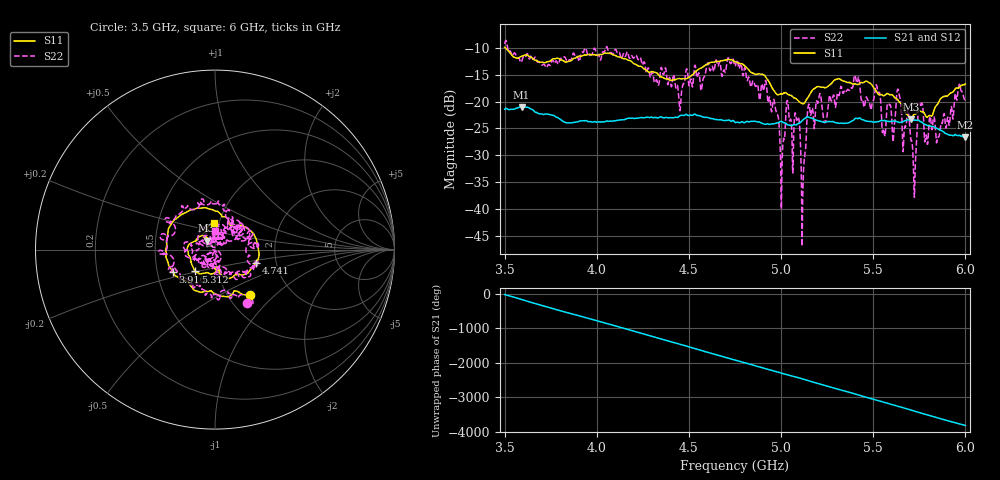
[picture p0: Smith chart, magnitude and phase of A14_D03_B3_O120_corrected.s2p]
! Created with skrf 1.9.0 (http://scikit-rf.org).
# Hz S RI R 50.0
!freq ReS11 ImS11 ReS21 ImS21 ReS12 ImS12 ReS22 ImS22
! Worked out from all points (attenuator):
!   1601 points, 3.5 GHz to 6 GHz, reference 50 ohm
!   highest |S21| = -20.97 dB at 3.592 GHz (marker M1); lowest = -26.6 dB at 6 GHz (marker M2)
!   lowest |S11| = -23.3 dB at 5.703 GHz (marker M3), VSWR 1.15, Z = 45.3 + j4.55 ohm
!   |S11| at or under -10 dB: 3.505 GHz to end of sweep
!   |S22| runs from -46.9 to -8.6 dB; largest |S21 - S12| = 0.00099
!   S11 on the Smith chart (normalised r, x): 3.5 GHz: 1.26, -0.72; 3.916 GHz: 0.60, -0.16; 4.741 GHz: 1.57, -0.24; 5.312 GHz: 0.78, -0.20; 6 GHz: 0.95, +0.28
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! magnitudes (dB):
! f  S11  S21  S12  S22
! 3.5 GHz  -9.9  -21.4  -21.4  -9.2
! 3.592 GHz  -11.5  -21.0  -21.0  -12.6
! 3.916 GHz  -11.5  -23.6  -23.6  -11.1
! 3.917 GHz  -11.5  -23.6  -23.6  -10.9
! 4.334 GHz  -15.0  -23.0  -23.0  -17.0
! 4.741 GHz  -12.4  -23.5  -23.5  -12.2
! 4.75 GHz  -12.6  -23.9  -23.8  -13.4
! 4.967 GHz  -18.2  -24.1  -24.0  -20.8
! 5.005 GHz  -18.5  -23.7  -23.7  -32.8
! 5.034 GHz  -18.6  -24.3  -24.2  -19.8
! 5.086 GHz  -19.6  -24.3  -24.2  -23.5
! 5.119 GHz  -20.4  -23.4  -23.3  -36.0
! 5.145 GHz  -19.2  -22.9  -22.8  -21.2
! 5.167 GHz  -18.0  -23.1  -23.1  -21.3
! 5.312 GHz  -15.7  -24.0  -24.0  -18.8
! 5.558 GHz  -18.9  -23.5  -23.5  -25.4
! 5.584 GHz  -18.6  -23.7  -23.6  -20.4
! 5.703 GHz  -23.3  -23.5  -23.4  -26.7
! 5.723 GHz  -22.3  -23.4  -23.4  -37.8
! 5.756 GHz  -21.8  -23.7  -23.7  -21.0
! 5.85 GHz  -20.4  -25.1  -25.0  -26.6
! 6 GHz  -16.7  -26.6  -26.5  -19.5
